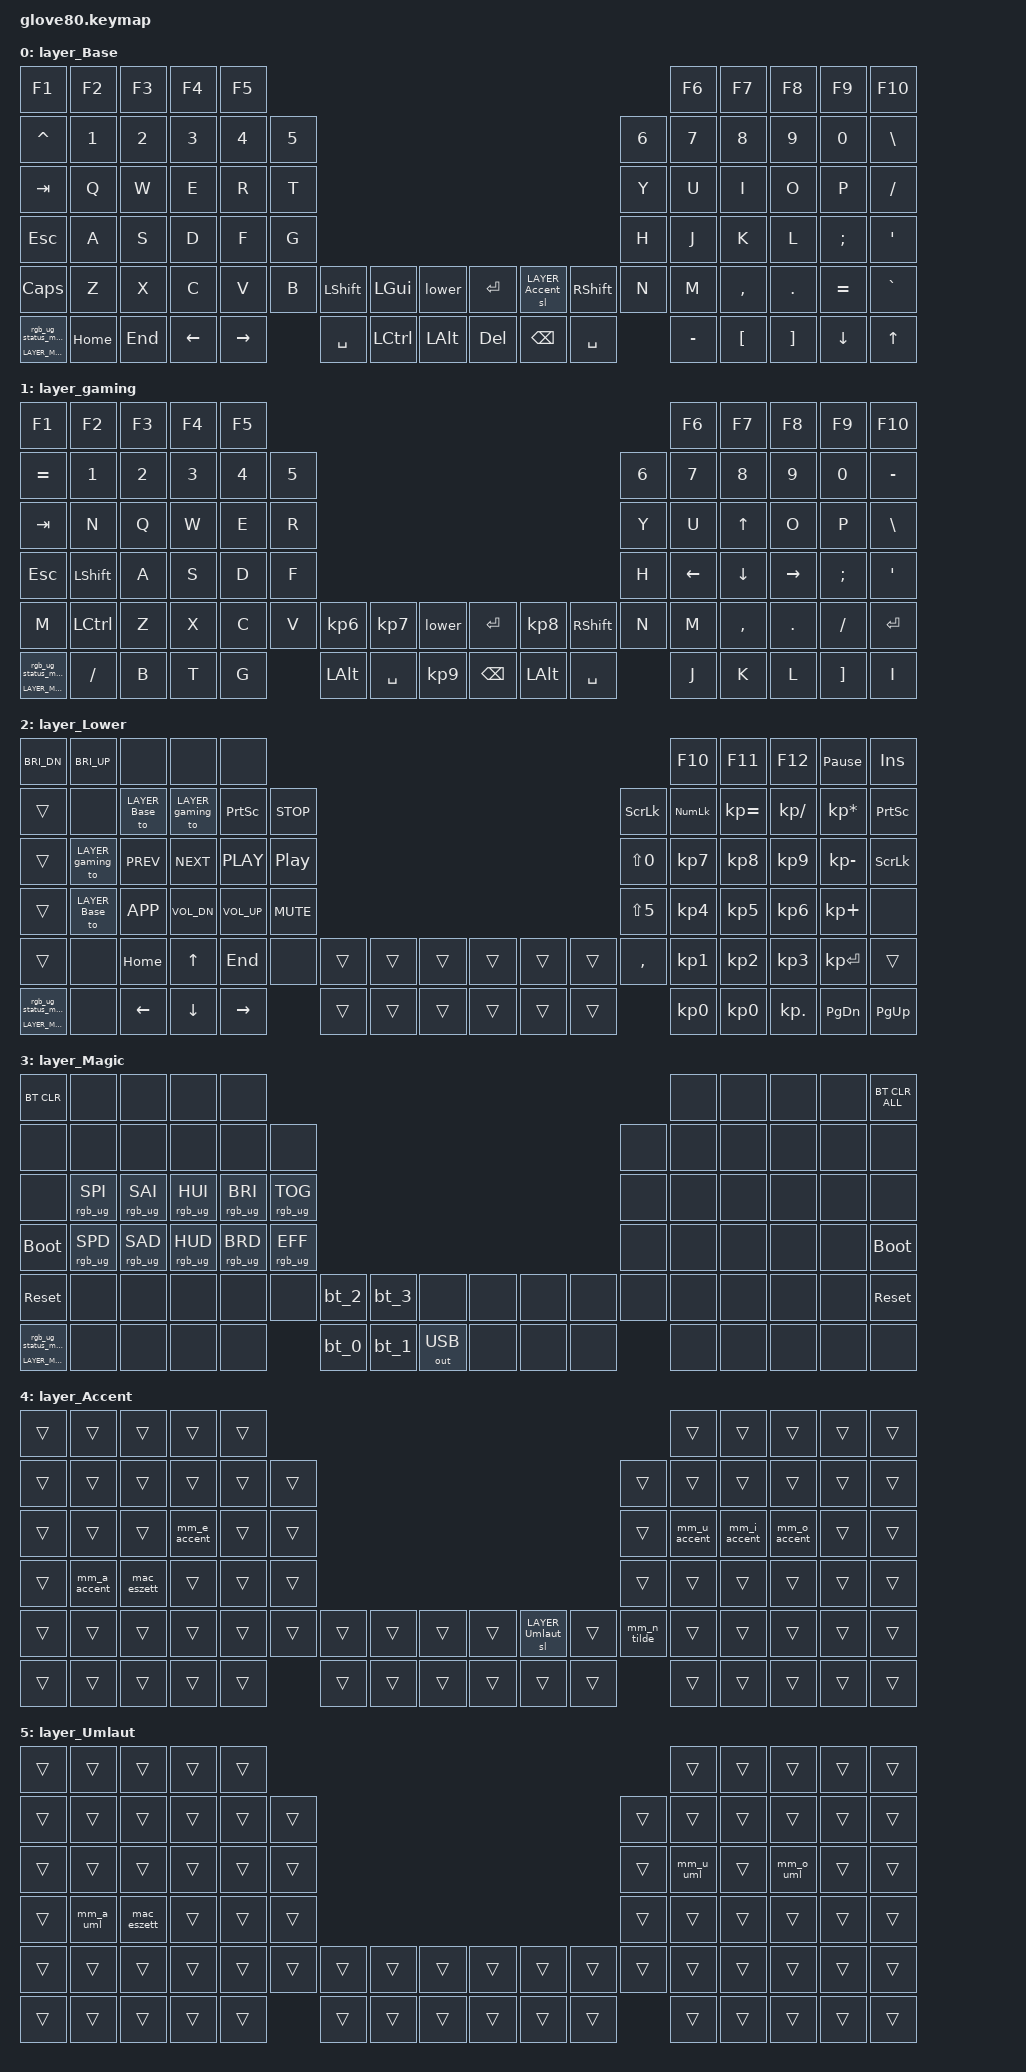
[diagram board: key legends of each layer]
#include <behaviors.dtsi>
/* Include all behavior includes needed */
#include <dt-bindings/zmk/outputs.h>
#include <dt-bindings/zmk/keys.h>
#include <dt-bindings/zmk/bt.h>
#include <dt-bindings/zmk/rgb.h>
#include <dt-bindings/zmk/rgb_colors.h>
#include "features/compose_hyper.dtsi"

/* Helper Macros, based on https://github.com/urob/zmk-helpers/ */

#pragma once

#define ZMK_HELPER_STRINGIFY(x) #x

// Preprocessor mechanism to overload macros, cf. https://stackoverflow.com/a/27051616/6114651
#define VARGS_(_10, _9, _8, _7, _6, _5, _4, _3, _2, _1, N, ...) N
#define VARGS(...) VARGS_(__VA_ARGS__, 10, 9, 8, 7, 6, 5, 4, 3, 2, 1, 0)
#define CONCAT_(a, b) a##b
#define CONCAT(a, b) CONCAT_(a, b)

#define ZMK_BEHAVIOR_CORE_tap_dance  \
    compatible = "zmk,behavior-tap-dance"; \
    #binding-cells = <0>

#define ZMK_BEHAVIOR(name, type, ...) \
    name: name { \
        ZMK_BEHAVIOR_CORE_ ## type; \
        __VA_ARGS__ \
    };

#define ZMK_TAP_DANCE(name, ...) \
    ZMK_BEHAVIOR(name, tap_dance, __VA_ARGS__)

#define ZMK_TD_LAYER(name, layer) \
    ZMK_TAP_DANCE(name, \
        tapping-term-ms = <200>; \
        bindings = <&mo layer>, <&to layer>; \
)

/* Environment and metadata defines */
#define KB_TYPE_GLOVE_80 1
#define KB_TYPE_GO_60    2

#define KB_TYPE          KB_TYPE_GLOVE_80
#define EDITOR_HOST_OS   'W'

/* Automatically generated layer name defines */
#define LAYER_Base 0
#define LAYER_gaming 1
#define LAYER_Lower 2
#define LAYER_Magic 3

/* To deal with the situation where there is no Lower layer, to keep &lower happy */
#ifndef LAYER_Lower
#define LAYER_Lower 0
#endif

/* Custom Device-tree */

/*
 * RGB Underglow Per-Layer Configuration
 * darknao/zmk fork (rgb-layer-25.08)
 *
 * Base    (0) = TEAL
 * Gaming  (1) = BLUE
 * Lower   (2) = RED
 * Magic   (3) = off
 * Accent  (4) = GREEN
 * Umlaut  (5) = YELLOW
 */
/ {
    underglow-layer {
        compatible = "zmk,underglow-layer";

        base_rgb {
            bindings = <
    &ug TEAL &ug TEAL &ug TEAL &ug TEAL &ug TEAL                                                                  &ug TEAL &ug TEAL &ug TEAL &ug TEAL &ug TEAL
    &ug TEAL &ug TEAL &ug TEAL &ug TEAL &ug TEAL &ug TEAL                                                  &ug TEAL &ug TEAL &ug TEAL &ug TEAL &ug TEAL &ug TEAL
    &ug TEAL &ug TEAL &ug TEAL &ug TEAL &ug TEAL &ug TEAL                                                  &ug TEAL &ug TEAL &ug TEAL &ug TEAL &ug TEAL &ug TEAL
    &ug TEAL &ug TEAL &ug TEAL &ug TEAL &ug TEAL &ug TEAL                                                  &ug TEAL &ug TEAL &ug TEAL &ug TEAL &ug TEAL &ug TEAL
    &ug TEAL &ug TEAL &ug TEAL &ug TEAL &ug TEAL &ug TEAL &ug TEAL &ug TEAL &ug TEAL  &ug TEAL &ug TEAL &ug TEAL &ug TEAL &ug TEAL &ug TEAL &ug TEAL &ug TEAL &ug TEAL
    &ug TEAL &ug TEAL &ug TEAL &ug TEAL &ug TEAL          &ug TEAL &ug TEAL &ug TEAL  &ug TEAL &ug TEAL &ug TEAL          &ug TEAL &ug TEAL &ug TEAL &ug TEAL &ug TEAL
                >;
            layer-id = <0>;
        };

        gaming_rgb {
            bindings = <
    &ug BLUE &ug BLUE &ug BLUE &ug BLUE &ug BLUE                                                                  &ug BLUE &ug BLUE &ug BLUE &ug BLUE &ug BLUE
    &ug BLUE &ug BLUE &ug BLUE &ug BLUE &ug BLUE &ug BLUE                                                  &ug BLUE &ug BLUE &ug BLUE &ug BLUE &ug BLUE &ug BLUE
    &ug BLUE &ug BLUE &ug BLUE &ug BLUE &ug BLUE &ug BLUE                                                  &ug BLUE &ug BLUE &ug BLUE &ug BLUE &ug BLUE &ug BLUE
    &ug BLUE &ug BLUE &ug BLUE &ug BLUE &ug BLUE &ug BLUE                                                  &ug BLUE &ug BLUE &ug BLUE &ug BLUE &ug BLUE &ug BLUE
    &ug BLUE &ug BLUE &ug BLUE &ug BLUE &ug BLUE &ug BLUE &ug BLUE &ug BLUE &ug BLUE  &ug BLUE &ug BLUE &ug BLUE &ug BLUE &ug BLUE &ug BLUE &ug BLUE &ug BLUE &ug BLUE
    &ug BLUE &ug BLUE &ug BLUE &ug BLUE &ug BLUE          &ug BLUE &ug BLUE &ug BLUE  &ug BLUE &ug BLUE &ug BLUE          &ug BLUE &ug BLUE &ug BLUE &ug BLUE &ug BLUE
                >;
            layer-id = <1>;
        };

        lower_rgb {
            bindings = <
    &ug RED &ug RED &ug RED &ug RED &ug RED                                                                  &ug RED &ug RED &ug RED &ug RED &ug RED
    &ug RED &ug RED &ug RED &ug RED &ug RED &ug RED                                                  &ug RED &ug RED &ug RED &ug RED &ug RED &ug RED
    &ug RED &ug RED &ug RED &ug RED &ug RED &ug RED                                                  &ug RED &ug RED &ug RED &ug RED &ug RED &ug RED
    &ug RED &ug RED &ug RED &ug RED &ug RED &ug RED                                                  &ug RED &ug RED &ug RED &ug RED &ug RED &ug RED
    &ug RED &ug RED &ug RED &ug RED &ug RED &ug RED &ug RED &ug RED &ug RED  &ug RED &ug RED &ug RED &ug RED &ug RED &ug RED &ug RED &ug RED &ug RED
    &ug RED &ug RED &ug RED &ug RED &ug RED          &ug RED &ug RED &ug RED  &ug RED &ug RED &ug RED          &ug RED &ug RED &ug RED &ug RED &ug RED
                >;
            layer-id = <2>;
        };

        magic_rgb {
            bindings = <
    &ug ___ &ug ___ &ug ___ &ug ___ &ug ___                                                                  &ug ___ &ug ___ &ug ___ &ug ___ &ug ___
    &ug ___ &ug ___ &ug ___ &ug ___ &ug ___ &ug ___                                                  &ug ___ &ug ___ &ug ___ &ug ___ &ug ___ &ug ___
    &ug ___ &ug ___ &ug ___ &ug ___ &ug ___ &ug ___                                                  &ug ___ &ug ___ &ug ___ &ug ___ &ug ___ &ug ___
    &ug ___ &ug ___ &ug ___ &ug ___ &ug ___ &ug ___                                                  &ug ___ &ug ___ &ug ___ &ug ___ &ug ___ &ug ___
    &ug ___ &ug ___ &ug ___ &ug ___ &ug ___ &ug ___ &ug ___ &ug ___ &ug ___  &ug ___ &ug ___ &ug ___ &ug ___ &ug ___ &ug ___ &ug ___ &ug ___ &ug ___
    &ug ___ &ug ___ &ug ___ &ug ___ &ug ___         &ug ___ &ug ___ &ug ___  &ug ___ &ug ___ &ug ___         &ug ___ &ug ___ &ug ___ &ug ___ &ug ___
                >;
            layer-id = <3>;
        };

        accent_rgb {
            bindings = <
    &ug GREEN &ug GREEN &ug GREEN &ug GREEN &ug GREEN                                                                  &ug GREEN &ug GREEN &ug GREEN &ug GREEN &ug GREEN
    &ug GREEN &ug GREEN &ug GREEN &ug GREEN &ug GREEN &ug GREEN                                                  &ug GREEN &ug GREEN &ug GREEN &ug GREEN &ug GREEN &ug GREEN
    &ug GREEN &ug GREEN &ug GREEN &ug GREEN &ug GREEN &ug GREEN                                                  &ug GREEN &ug GREEN &ug GREEN &ug GREEN &ug GREEN &ug GREEN
    &ug GREEN &ug GREEN &ug GREEN &ug GREEN &ug GREEN &ug GREEN                                                  &ug GREEN &ug GREEN &ug GREEN &ug GREEN &ug GREEN &ug GREEN
    &ug GREEN &ug GREEN &ug GREEN &ug GREEN &ug GREEN &ug GREEN &ug GREEN &ug GREEN &ug GREEN  &ug GREEN &ug GREEN &ug GREEN &ug GREEN &ug GREEN &ug GREEN &ug GREEN &ug GREEN &ug GREEN
    &ug GREEN &ug GREEN &ug GREEN &ug GREEN &ug GREEN          &ug GREEN &ug GREEN &ug GREEN  &ug GREEN &ug GREEN &ug GREEN          &ug GREEN &ug GREEN &ug GREEN &ug GREEN &ug GREEN
                >;
            layer-id = <4>;
        };

        umlaut_rgb {
            bindings = <
    &ug YELLOW &ug YELLOW &ug YELLOW &ug YELLOW &ug YELLOW                                                                  &ug YELLOW &ug YELLOW &ug YELLOW &ug YELLOW &ug YELLOW
    &ug YELLOW &ug YELLOW &ug YELLOW &ug YELLOW &ug YELLOW &ug YELLOW                                                  &ug YELLOW &ug YELLOW &ug YELLOW &ug YELLOW &ug YELLOW &ug YELLOW
    &ug YELLOW &ug YELLOW &ug YELLOW &ug YELLOW &ug YELLOW &ug YELLOW                                                  &ug YELLOW &ug YELLOW &ug YELLOW &ug YELLOW &ug YELLOW &ug YELLOW
    &ug YELLOW &ug YELLOW &ug YELLOW &ug YELLOW &ug YELLOW &ug YELLOW                                                  &ug YELLOW &ug YELLOW &ug YELLOW &ug YELLOW &ug YELLOW &ug YELLOW
    &ug YELLOW &ug YELLOW &ug YELLOW &ug YELLOW &ug YELLOW &ug YELLOW &ug YELLOW &ug YELLOW &ug YELLOW  &ug YELLOW &ug YELLOW &ug YELLOW &ug YELLOW &ug YELLOW &ug YELLOW &ug YELLOW &ug YELLOW &ug YELLOW
    &ug YELLOW &ug YELLOW &ug YELLOW &ug YELLOW &ug YELLOW          &ug YELLOW &ug YELLOW &ug YELLOW  &ug YELLOW &ug YELLOW &ug YELLOW          &ug YELLOW &ug YELLOW &ug YELLOW &ug YELLOW &ug YELLOW
                >;
            layer-id = <5>;
        };
    };
};


/* Input Listeners */


/* System behavior and Macros */
/ {
    behaviors {
        ZMK_TD_LAYER(lower, LAYER_Lower)
    };
};

/ {
    macros {
        rgb_ug_status_macro: rgb_ug_status_macro {
            label = "RGB_UG_STATUS";
            compatible = "zmk,behavior-macro";
            #binding-cells = <0>;
            bindings
                = <&rgb_ug RGB_STATUS>;
        };
    };
};


/ {
#ifdef BT_DISC_CMD
    behaviors {
        bt_0: bt_0 {
            compatible = "zmk,behavior-tap-dance";
            label = "BT_0";
            #binding-cells = <0>;
            tapping-term-ms = <200>;
            bindings = <&bt_select_0>, <&bt BT_DISC 0>;
        };
        bt_1: bt_1 {
            compatible = "zmk,behavior-tap-dance";
            label = "BT_1";
            #binding-cells = <0>;
            tapping-term-ms = <200>;
            bindings = <&bt_select_1>, <&bt BT_DISC 1>;
        };
        bt_2: bt_2 {
            compatible = "zmk,behavior-tap-dance";
            label = "BT_2";
            #binding-cells = <0>;
            tapping-term-ms = <200>;
            bindings = <&bt_select_2>, <&bt BT_DISC 2>;
        };
        bt_3: bt_3 {
            compatible = "zmk,behavior-tap-dance";
            label = "BT_3";
            #binding-cells = <0>;
            tapping-term-ms = <200>;
            bindings = <&bt_select_3>, <&bt BT_DISC 3>;
        };
    };
    macros {
        bt_select_0: bt_select_0 {
            label = "BT_SELECT_0";
            compatible = "zmk,behavior-macro";
            #binding-cells = <0>;
            bindings
                = <&out OUT_BLE>,
                  <&bt BT_SEL 0>;
        };
        bt_select_1: bt_select_1 {
            label = "BT_SELECT_1";
            compatible = "zmk,behavior-macro";
            #binding-cells = <0>;
            bindings
                = <&out OUT_BLE>,
                  <&bt BT_SEL 1>;
        };
        bt_select_2: bt_select_2 {
            label = "BT_SELECT_2";
            compatible = "zmk,behavior-macro";
            #binding-cells = <0>;
            bindings
                = <&out OUT_BLE>,
                  <&bt BT_SEL 2>;
        };
        bt_select_3: bt_select_3 {
            label = "BT_SELECT_3";
            compatible = "zmk,behavior-macro";
            #binding-cells = <0>;
            bindings
                = <&out OUT_BLE>,
                  <&bt BT_SEL 3>;
        };
    };
#else
    macros {
        bt_0: bt_0 {
            label = "BT_0";
            compatible = "zmk,behavior-macro";
            #binding-cells = <0>;
            bindings
                = <&out OUT_BLE>,
                  <&bt BT_SEL 0>;
        };
        bt_1: bt_1 {
            label = "BT_1";
            compatible = "zmk,behavior-macro";
            #binding-cells = <0>;
            bindings
                = <&out OUT_BLE>,
                  <&bt BT_SEL 1>;
        };
        bt_2: bt_2 {
            label = "BT_2";
            compatible = "zmk,behavior-macro";
            #binding-cells = <0>;
            bindings
                = <&out OUT_BLE>,
                  <&bt BT_SEL 2>;
        };
        bt_3: bt_3 {
            label = "BT_3";
            compatible = "zmk,behavior-macro";
            #binding-cells = <0>;
            bindings
                = <&out OUT_BLE>,
                  <&bt BT_SEL 3>;
        };
    };
#endif
};

/ {
    behaviors {
        magic: magic {
            compatible = "zmk,behavior-hold-tap";
            label = "MAGIC_HOLD_TAP";
            #binding-cells = <2>;
            flavor = "tap-preferred";
            tapping-term-ms = <200>;
            bindings = <&mo>, <&rgb_ug_status_macro>;
        };
    };
};


/* Key positions */

#define POS_LH_C6R1 0
#define POS_LH_C5R1 1
#define POS_LH_C4R1 2
#define POS_LH_C3R1 3
#define POS_LH_C2R1 4
#define POS_RH_C2R1 5
#define POS_RH_C3R1 6
#define POS_RH_C4R1 7
#define POS_RH_C5R1 8
#define POS_RH_C6R1 9
#define POS_LH_C6R2 10
#define POS_LH_C5R2 11
#define POS_LH_C4R2 12
#define POS_LH_C3R2 13
#define POS_LH_C2R2 14
#define POS_LH_C1R2 15
#define POS_RH_C1R2 16
#define POS_RH_C2R2 17
#define POS_RH_C3R2 18
#define POS_RH_C4R2 19
#define POS_RH_C5R2 20
#define POS_RH_C6R2 21
#define POS_LH_C6R3 22
#define POS_LH_C5R3 23
#define POS_LH_C4R3 24
#define POS_LH_C3R3 25
#define POS_LH_C2R3 26
#define POS_LH_C1R3 27
#define POS_RH_C1R3 28
#define POS_RH_C2R3 29
#define POS_RH_C3R3 30
#define POS_RH_C4R3 31
#define POS_RH_C5R3 32
#define POS_RH_C6R3 33
#define POS_LH_C6R4 34
#define POS_LH_C5R4 35
#define POS_LH_C4R4 36
#define POS_LH_C3R4 37
#define POS_LH_C2R4 38
#define POS_LH_C1R4 39
#define POS_RH_C1R4 40
#define POS_RH_C2R4 41
#define POS_RH_C3R4 42
#define POS_RH_C4R4 43
#define POS_RH_C5R4 44
#define POS_RH_C6R4 45
#define POS_LH_C6R5 46
#define POS_LH_C5R5 47
#define POS_LH_C4R5 48
#define POS_LH_C3R5 49
#define POS_LH_C2R5 50
#define POS_LH_C1R5 51
#define POS_LH_T1 52
#define POS_LH_T2 53
#define POS_LH_T3 54
#define POS_RH_T3 55
#define POS_RH_T2 56
#define POS_RH_T1 57
#define POS_RH_C1R5 58
#define POS_RH_C2R5 59
#define POS_RH_C3R5 60
#define POS_RH_C4R5 61
#define POS_RH_C5R5 62
#define POS_RH_C6R5 63
#define POS_LH_C6R6 64
#define POS_LH_C5R6 65
#define POS_LH_C4R6 66
#define POS_LH_C3R6 67
#define POS_LH_C2R6 68
#define POS_LH_T4 69
#define POS_LH_T5 70
#define POS_LH_T6 71
#define POS_RH_T6 72
#define POS_RH_T5 73
#define POS_RH_T4 74
#define POS_RH_C2R6 75
#define POS_RH_C3R6 76
#define POS_RH_C4R6 77
#define POS_RH_C5R6 78
#define POS_RH_C6R6 79


/* Custom Defined Behaviors */
/ {
    behaviors {

    };
};

/* Generated input processors */


/* Automatically generated macro definitions */
/ {
    macros {

    };
};

/* Automatically generated behavior definitions */
/ {
    behaviors {

    };
};

/* Automatically generated combos definitions */

/* Manually generated keymap */
/ {
    keymap {
        compatible = "zmk,keymap";


      layer_Base {
            bindings = <
            &kp F1                &kp F2    &kp F3   &kp F4    &kp F5                                                                                           &kp F6     &kp F7     &kp F8    &kp F9     &kp F10
            &kp CARET             &kp N1    &kp N2   &kp N3    &kp N4     &kp N5                                                                        &kp N6  &kp N7     &kp N8     &kp N9    &kp N0     &kp BSLH
            &kp TAB               &kp Q     &kp W    &kp E     &kp R      &kp T                                                                         &kp Y   &kp U      &kp I      &kp O     &kp P      &kp FSLH
            &kp ESC               &kp A     &kp S    &kp D     &kp F      &kp G                                                                         &kp H   &kp J      &kp K      &kp L     &kp SEMI   &kp SQT
            &kp CAPS              &kp Z     &kp X    &kp C     &kp V      &kp B   &kp LSHFT  &kp LGUI   &lower    &kp RET  &sl LAYER_Accent  &kp RSHFT  &kp N   &kp M      &kp COMMA  &kp DOT   &kp EQUAL  &kp GRAVE
            &magic LAYER_Magic 0  &kp HOME  &kp END  &kp LEFT  &kp RIGHT          &kp SPACE  &kp LCTRL  &kp LALT  &kp DEL  &kp BSPC          &kp SPACE          &kp MINUS  &kp LBKT   &kp RBKT  &kp DOWN   &kp UP
            >;
        };

        layer_gaming {
            bindings = <
            &kp F1                &kp F2      &kp F3      &kp F4      &kp F5                                                                                                      &kp F6      &kp F7      &kp F8      &kp F9      &kp F10
            &kp EQUAL             &kp N1      &kp N2      &kp N3      &kp N4      &kp N5                                                                              &kp N6      &kp N7      &kp N8      &kp N9      &kp N0      &kp MINUS
            &kp TAB               &kp N       &kp Q       &kp W       &kp E       &kp R                                                                               &kp Y       &kp U       &kp UP      &kp O       &kp P       &kp BSLH
            &kp ESC               &kp LSHFT   &kp A       &kp S       &kp D       &kp F                                                                               &kp H       &kp LEFT    &kp DOWN    &kp RIGHT   &kp SEMI    &kp SQT
            &kp M                 &kp LCTRL   &kp Z       &kp X       &kp C       &kp V       &kp KP_N6   &kp KP_N7   &lower      &kp RET     &kp KP_N8   &kp RSHFT   &kp N       &kp M       &kp COMMA   &kp DOT     &kp FSLH    &kp RET
            &magic LAYER_Magic 0  &kp FSLH    &kp B       &kp T       &kp G                   &kp LALT    &kp SPACE   &kp KP_N9   &kp BSPC    &kp LALT    &kp SPACE               &kp J       &kp K       &kp L       &kp RBKT    &kp I
            >;
        };

        layer_Lower {
            bindings = <
            &kp C_BRI_DN          &kp C_BRI_UP      &none           &none             &none                                                                                 &kp F10     &kp F11       &kp F12       &kp PAUSE_BREAK  &kp INS
            &trans                &none             &to LAYER_Base  &to LAYER_gaming  &kp PSCRN     &kp C_STOP                                                  &kp SLCK    &kp KP_NUM  &kp KP_EQUAL  &kp KP_SLASH  &kp KP_MULTIPLY  &kp PRINTSCREEN
            &trans                &to LAYER_gaming  &kp C_PREV      &kp C_NEXT        &kp C_PLAY    &kp C_PP                                                    &kp LS(N0)  &kp KP_N7   &kp KP_N8     &kp KP_N9     &kp KP_MINUS     &kp SCROLLLOCK
            &trans                &to LAYER_Base    &kp K_APP       &kp C_VOL_DN      &kp C_VOL_UP  &kp C_MUTE                                                  &kp LS(N5)  &kp KP_N4   &kp KP_N5     &kp KP_N6     &kp KP_PLUS      &none
            &trans                &none             &kp HOME        &kp UP            &kp END       &none       &trans  &trans  &trans  &trans  &trans  &trans  &kp COMMA   &kp KP_N1   &kp KP_N2     &kp KP_N3     &kp KP_ENTER     &trans
            &magic LAYER_Magic 0  &none             &kp LEFT        &kp DOWN          &kp RIGHT                 &trans  &trans  &trans  &trans  &trans  &trans              &kp KP_N0   &kp KP_N0     &kp KP_DOT    &kp PG_DN        &kp PG_UP
            >;
        };

        layer_Magic {
            bindings = <
            &bt BT_CLR            &none            &none            &none            &none                                                                                  &none   &none   &none   &none  &bt BT_CLR_ALL
            &none            &none            &none            &none            &none            &none                                                         &none   &none   &none   &none   &none           &none
            &none  &rgb_ug RGB_SPI  &rgb_ug RGB_SAI  &rgb_ug RGB_HUI  &rgb_ug RGB_BRI  &rgb_ug RGB_TOG                                                         &none   &none   &none   &none   &none           &none
            &bootloader  &rgb_ug RGB_SPD  &rgb_ug RGB_SAD  &rgb_ug RGB_HUD  &rgb_ug RGB_BRD  &rgb_ug RGB_EFF                                                         &none   &none   &none   &none   &none     &bootloader
            &sys_reset            &none            &none            &none            &none            &none   &bt_2   &bt_3         &none   &none   &none   &none   &none   &none   &none   &none   &none      &sys_reset
            &magic LAYER_Magic 0            &none            &none            &none            &none                    &bt_0   &bt_1  &out OUT_USB   &none   &none   &none           &none   &none   &none   &none           &none
            >;
        };

        /* Layer 4: Accent — Spanish accents + ñ + ß */
        layer_Accent {
            bindings = <
            &trans        &trans        &trans         &trans        &trans                                                                                                       &trans        &trans        &trans         &trans        &trans
            &trans        &trans        &trans         &trans        &trans  &trans                                                                                     &trans   &trans        &trans        &trans         &trans        &trans
            &trans        &trans        &trans  &mm_e_accent        &trans  &trans                                                                                     &trans   &mm_u_accent  &mm_i_accent  &mm_o_accent   &trans        &trans
            &trans  &mm_a_accent   &mac_eszett        &trans        &trans  &trans                                                                                     &trans   &trans        &trans        &trans         &trans        &trans
            &trans        &trans        &trans         &trans        &trans  &trans  &trans  &trans  &trans  &trans  &sl LAYER_Umlaut  &trans   &mm_n_tilde   &trans        &trans        &trans         &trans        &trans
            &trans        &trans        &trans         &trans        &trans          &trans  &trans  &trans  &trans             &trans  &trans                  &trans        &trans        &trans         &trans        &trans
            >;
        };

        /* Layer 5: Umlaut — German umlauts + ß */
        layer_Umlaut {
            bindings = <
            &trans      &trans       &trans  &trans      &trans                                                                                    &trans      &trans  &trans      &trans  &trans
            &trans      &trans       &trans  &trans      &trans  &trans                                                                    &trans  &trans      &trans  &trans      &trans  &trans
            &trans      &trans       &trans  &trans      &trans  &trans                                                                    &trans  &mm_u_uml   &trans  &mm_o_uml   &trans  &trans
            &trans  &mm_a_uml  &mac_eszett  &trans      &trans  &trans                                                                    &trans  &trans      &trans  &trans      &trans  &trans
            &trans      &trans       &trans  &trans      &trans  &trans  &trans  &trans  &trans  &trans  &trans  &trans   &trans  &trans      &trans  &trans      &trans  &trans
            &trans      &trans       &trans  &trans      &trans          &trans  &trans  &trans  &trans  &trans  &trans           &trans      &trans  &trans      &trans  &trans
            >;
        };
    };
};
